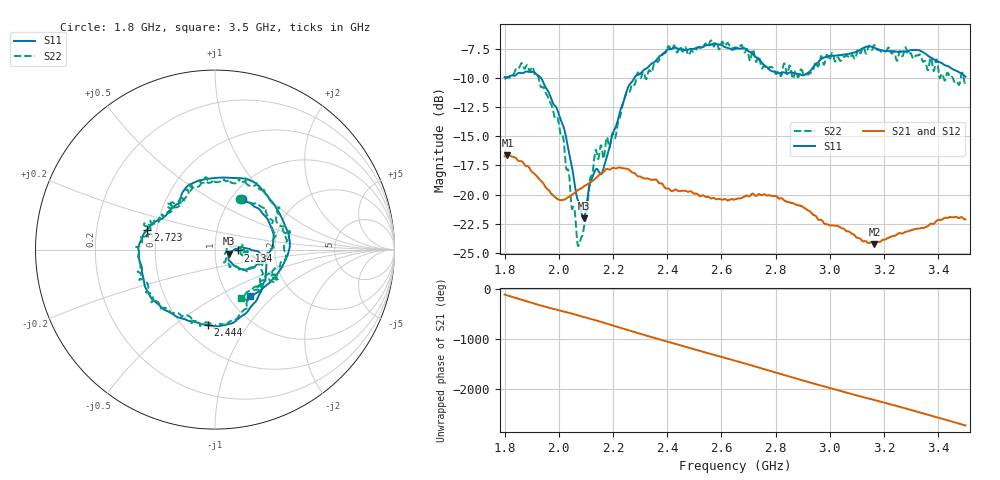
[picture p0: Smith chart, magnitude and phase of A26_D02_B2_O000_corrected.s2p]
! Created with skrf 1.9.0 (http://scikit-rf.org).
# Hz S RI R 50.0
!freq ReS11 ImS11 ReS21 ImS21 ReS12 ImS12 ReS22 ImS22
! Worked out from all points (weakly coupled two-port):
!   1601 points, 1.8 GHz to 3.5 GHz, reference 50 ohm
!   highest |S21| = -16.64 dB at 1.811 GHz (marker M1); lowest = -24.2 dB at 3.164 GHz (marker M2)
!   lowest |S11| = -22.0 dB at 2.092 GHz (marker M3), VSWR 1.17, Z = 58.2 - j2.55 ohm
!   |S11| at or under -10 dB: 1.935 GHz to 2.278 GHz (342.6 MHz wide, 16.3 % of centre)
!   |S22| runs from -24.4 to -6.7 dB; largest |S21 - S12| = 0.0025
!   S11 on the Smith chart (normalised r, x): 1.8 GHz: 1.12, +0.70; 2.134 GHz: 1.29, -0.01; 2.444 GHz: 0.65, -0.67; 2.723 GHz: 0.44, +0.12; 3.5 GHz: 1.25, -0.72
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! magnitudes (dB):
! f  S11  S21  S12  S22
! 1.8 GHz  -9.9  -16.7  -16.7  -10.1
! 1.811 GHz  -9.9  -16.6  -16.7  -9.9
! 1.9 GHz  -9.5  -18.0  -17.9  -9.0
! 1.953 GHz  -10.9  -19.4  -19.4  -11.3
! 2.019 GHz  -14.3  -20.5  -20.5  -15.6
! 2.07 GHz  -20.5  -19.6  -19.7  -24.4
! 2.084 GHz  -21.6  -19.5  -19.4  -23.6
! 2.092 GHz  -22.0  -19.3  -19.3  -22.9
! 2.134 GHz  -17.9  -18.6  -18.6  -16.3
! 2.162 GHz  -18.0  -18.1  -18.0  -16.7
! 2.21 GHz  -14.2  -17.8  -17.7  -15.0
! 2.26 GHz  -10.6  -17.9  -17.9  -11.2
! 2.367 GHz  -8.2  -19.0  -18.9  -8.5
! 2.444 GHz  -7.5  -19.7  -19.7  -7.3
! 2.65 GHz  -7.5  -20.4  -20.4  -7.3
! 2.723 GHz  -8.1  -20.1  -20.0  -8.2
! 2.81 GHz  -9.6  -20.3  -20.2  -9.4
! 2.934 GHz  -9.2  -21.7  -21.6  -9.5
! 3.164 GHz  -7.4  -24.2  -24.2  -7.1
! 3.217 GHz  -7.7  -23.7  -23.7  -7.4
! 3.33 GHz  -7.6  -22.9  -22.9  -7.9
! 3.5 GHz  -9.9  -22.1  -22.1  -10.3
